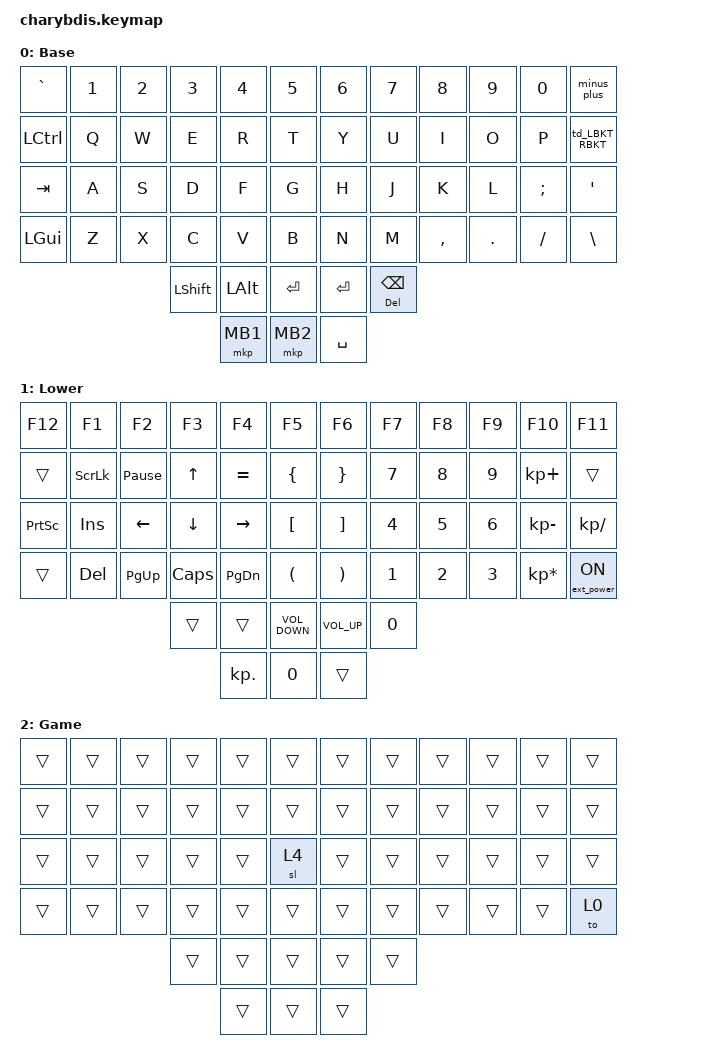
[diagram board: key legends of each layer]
#include <behaviors.dtsi>
#include <dt-bindings/zmk/keys.h>
#include <dt-bindings/zmk/bt.h>
#include <dt-bindings/zmk/ext_power.h>
#include <dt-bindings/zmk/mouse.h>
#include <dt-bindings/zmk/outputs.h>

/ {
    combos {
        compatible = "zmk,combos";

        combo_esc {
            key-positions = <0 1>;
            bindings = <&kp ESC>;
        };

        mouse_scroll {
            key-positions = <53 54>;  // MB1 + MB2
            bindings = <&mo 1>;
        };
    };

    trackball_listener {
        compatible = "zmk,input-behavior-listener";
        device = <&vtrackball>;
        layers = <0 2 3 4 5>;
        evt-type = <INPUT_EV_REL>;
        x-input-code = <INPUT_REL_X>;
        y-input-code = <INPUT_REL_Y>;
        scale-multiplier = <1>;
        scale-divisor = <1>;
        bindings = <&ib_toggle_layer 5>;
    };

    trackball_snipe_listener {
        compatible = "zmk,input-behavior-listener";   
        device = <&vtrackball>;
        layers = <>;
        evt-type = <INPUT_EV_REL>;
        x-input-code = <INPUT_REL_X>;
        y-input-code = <INPUT_REL_Y>;
        scale-multiplier = <1>;
        scale-divisor = <4>;
    };

    trackball_scroll_listener {
        compatible = "zmk,input-behavior-listener";
        device = <&vtrackball>;
        layers = <1>;
        evt-type = <INPUT_EV_REL>;            
        x-input-code = <INPUT_REL_MISC>;
        y-input-code = <INPUT_REL_WHEEL>;
        y-invert;
        bindings = <&ib_wheel_scaler 1 16>;
    };

    ib_wheel_scaler: ib_wheel_scaler {
        compatible = "zmk,input-behavior-scaler";
        #binding-cells = <2>;
        evt-type = <INPUT_EV_REL>;
        input-code = <INPUT_REL_WHEEL>;
    };

    ib_toggle_layer: ib_toggle_layer {
        compatible = "zmk,input-behavior-tog-layer";
        #binding-cells = <1>;
        time-to-live-ms = <750>;
    };

    behaviors {
        td_LBKT_RBKT: tap_dance_LBKT_RBKT {
            compatible = "zmk,behavior-tap-dance";
            label = "TAP_DANCE_LBKT_RBKT";
            tapping-term-ms = <210>;
            #binding-cells = <0>;
            bindings = <&kp LBKT>, <&kp RBKT>;
        };

        minus_plus: minus_plus {
            compatible = "zmk,behavior-tap-dance";
            label = "MINUS_PLUS";
            #binding-cells = <0>;
            bindings = <&kp MINUS>, <&kp EQUAL>;
        };

        shift_capsword: shift_capsword {
            compatible = "zmk,behavior-tap-dance";
            label = "SHIFT_CAPSWORD";
            #binding-cells = <0>;
            bindings = <&kp LSHFT>, <&caps_word>;
        };
    };

    keymap {
        compatible = "zmk,keymap";

        Base {
            label = "Base";
            display-name = "Base";
            bindings = <
                &kp GRAVE   &kp N1       &kp N2      &kp N3           &kp N4        &kp N5                &kp N6     &kp N7             &kp N8      &kp N9      &kp N0          &minus_plus
                &kp LCTRL   &kp Q        &kp W       &kp E            &kp R         &kp T                 &kp Y      &kp U              &kp I       &kp O       &kp P           &td_LBKT_RBKT
                &kp TAB     &kp A        &kp S       &kp D            &kp F         &kp G                 &kp H      &kp J              &kp K       &kp L       &kp SEMI        &kp APOS
                &kp LGUI    &kp Z        &kp X       &kp C            &kp V         &kp B                 &kp N      &kp M              &kp COMMA   &kp DOT     &kp SLASH       &kp BACKSLASH
                                                     &kp LSHIFT       &kp LALT      &kp ENTER             &kp ENTER  &mt DEL BACKSPACE
                                                                      &mkp MB1      &mkp MB2              &kp SPACE
            >;
        };

        Lower {
            label = "Lower";
            display-name = "Lower";
            bindings = <
                &kp F12          &kp F1          &kp F2           &kp F3    &kp F4      &kp F5                &kp F6           &kp F7  &kp F8  &kp F9  &kp F10          &kp F11
                &trans           &kp SCROLLLOCK  &kp PAUSE_BREAK  &kp UP    &kp EQUAL   &kp LBRC              &kp RBRC         &kp N7  &kp N8  &kp N9  &kp KP_PLUS      &trans
                &kp PRINTSCREEN  &kp INSERT      &kp LEFT         &kp DOWN  &kp RIGHT   &kp LBKT              &kp RBKT         &kp N4  &kp N5  &kp N6  &kp KP_MINUS     &kp KP_DIVIDE
                &trans           &kp DEL         &kp PG_UP        &kp CAPS  &kp PG_DN   &kp LPAR              &kp RPAR         &kp N1  &kp N2  &kp N3  &kp KP_MULTIPLY  &ext_power EP_ON
                                                                  &trans    &trans      &kp C_VOLUME_DOWN     &kp C_VOLUME_UP  &kp N0
                                                                            &kp KP_DOT  &kp N0                &trans
            >;
        };

        Game {
            label = "Game";
            display-name = "Game";
            bindings = <
            // ╭─────────────┬─────────────┬─────────────┬─────────────┬─────────────┬─────────────╮   ╭─────────────┬─────────────┬─────────────┬─────────────┬─────────────┬─────────────╮
                   &trans        &trans         &trans       &trans         &trans       &trans           &trans         &trans         &trans        &trans        &trans        &trans
            // ├─────────────┼─────────────┼─────────────┼─────────────┼─────────────┼─────────────┤   ├─────────────┼─────────────┼─────────────┼─────────────┼─────────────┼─────────────┤
                   &trans        &trans         &trans       &trans         &trans       &trans           &trans         &trans         &trans        &trans        &trans        &trans
            // ├─────────────┼─────────────┼─────────────┼─────────────┼─────────────┼─────────────┤   ├─────────────┼─────────────┼─────────────┼─────────────┼─────────────┼─────────────┤
                   &trans        &trans         &trans       &trans         &trans        &sl 4           &trans         &trans         &trans        &trans        &trans        &trans
            // ├─────────────┼─────────────┼─────────────┼─────────────┼─────────────┼─────────────┤   ├─────────────┼─────────────┼─────────────┼─────────────┼─────────────┼─────────────┤
                   &trans        &trans         &trans       &trans         &trans       &trans           &trans         &trans         &trans        &trans        &trans        &to 0
            // ╰─────────────┴─────────────┼─────────────┼─────────────┼─────────────┼─────────────┤   ├─────────────┼─────────────┼─────────────┼─────────────┼─────────────┴─────────────╯
                                                              &trans       &trans         &trans            &trans        &trans    
            //                                           ╰─────────────┤─────────────┤─────────────┤   ├─────────────┼─────────────╯
                                                                            &trans        &trans            &trans
            //                                                         ╰─────────────┴─────────────╯   ╰─────────────╯
            >;
        };
    };
};

&mt {
    quick-tap-ms = <200>;
    flavor = "tap-preferred";
    tapping-term-ms = <170>;
};

&lt {
    quick-tap-ms = <200>;
    flavor = "tap-preferred";
    tapping-term-ms = <170>;
};

&mmv {  // Движение курсора
    time-to-max-speed-ms = <50>;  // Разгон за 300 мс
    acceleration-exponent = <5>;   // Линейная кривая (0=без, 3+=агрессивная)
};

&msc {  // Прокрутка
    time-to-max-speed-ms = <150>;
    acceleration-exponent = <5>;   // Агрессивная кривая для скролла
};


